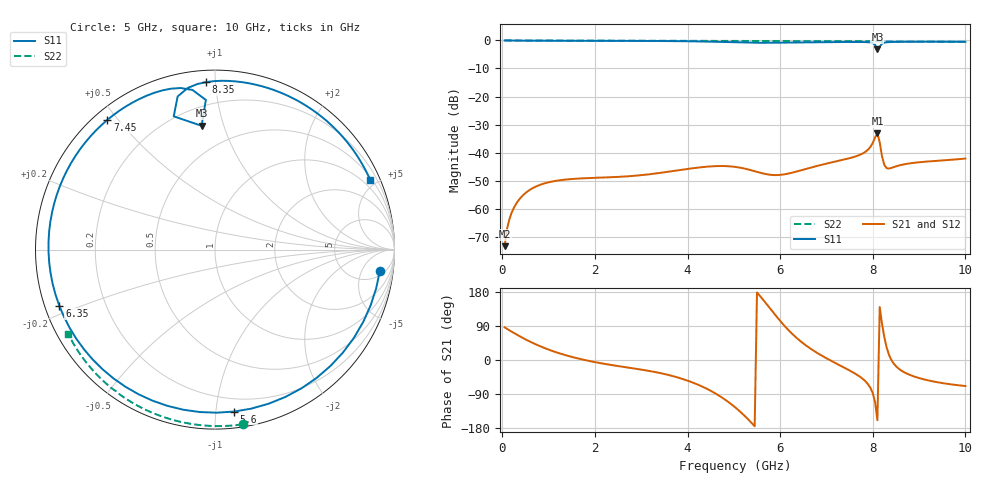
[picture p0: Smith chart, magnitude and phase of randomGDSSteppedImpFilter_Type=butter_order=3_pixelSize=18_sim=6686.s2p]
! freq	dB(S11)	phase(S11)	dB(S12)	phase(S12)
!  dB(S21)	phase(S21)	dB(S22)	phase(S22)
!S-par simulation data
#  GHz  S  DB  R 50
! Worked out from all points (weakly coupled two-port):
!   200 points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, 50 MHz to 10 GHz, reference 50 ohm
!   highest |S21| = -33.07 dB at 8.1 GHz (marker M1); lowest = -73.4 dB at 50 MHz (marker M2)
!   lowest |S11| = -3.2 dB at 8.1 GHz (marker M3), VSWR 5.53, Z = 15.9 + j42.3 ohm
!   |S11| at or under -10 dB: nowhere
!   |S22| runs from -0.5 to 0.0 dB; largest |S21 - S12| = 0
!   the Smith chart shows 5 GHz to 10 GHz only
!   S11 on the Smith chart (normalised r, x): 5 GHz: 7, -11; 5.6 GHz: 0.11, -1.12; 6.35 GHz: 0.04, -0.17; 7.45 GHz: 0.04, +0.47; 8.35 GHz: 0.06, +0.95; 10 GHz: 0.61, +4.63
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0.05  -0.01 -6.7  -73.37 86.1  -73.37 86.1  -0.00 -0.9
0.25  -0.05 -32.8  -59.70 71.4  -59.70 71.4  -0.01 -4.3
0.7  -0.09 -83.6  -52.31 42.6  -52.31 42.6  -0.02 -12.0
1.2  -0.11 -125.2  -49.96 18.9  -49.96 18.9  -0.03 -20.6
1.75  -0.12 -158.8  -49.16 0.8  -49.16 0.8  -0.04 -29.8
2.55  -0.14 162.0  -48.62 -17.0  -48.62 -17.0  -0.06 -43.0
3.4  -0.19 120.9  -47.26 -34.3  -47.26 -34.3  -0.08 -56.6
4.3  -0.37 63.1  -45.21 -69.1  -45.21 -69.1  -0.10 -70.6
4.7  -0.52 26.4  -44.79 -95.6  -44.79 -95.6  -0.11 -76.6
5  -0.67 -7.4  -45.04 -122.0  -45.04 -122.0  -0.12 -81.1
5.05  -0.69 -13.5  -45.15 -127.1  -45.15 -127.1  -0.13 -81.8
5.6  -0.83 -83.3  -47.32 163.8  -47.32 163.8  -0.15 -89.8
6  -0.78 -128.3  -47.95 103.3  -47.95 103.3  -0.17 -95.5
6.35  -0.70 -160.2  -46.77 58.9  -46.77 58.9  -0.19 -100.4
6.7  -0.63 173.8  -45.18 26.4  -45.18 26.4  -0.21 -105.3
7.45  -0.55 129.7  -42.20 -24.3  -42.20 -24.3  -0.25 -115.6
7.95  -0.72 102.0  -37.95 -73.8  -37.95 -73.8  -0.29 -122.4
8.1  -3.18 96.2  -33.07 -158.8  -33.07 -158.8  -0.33 -124.5
8.25  -0.79 99.5  -44.43 60.1  -44.43 60.1  -0.33 -126.4
8.35  -0.59 93.1  -45.68 13.8  -45.68 13.8  -0.33 -127.7
9.05  -0.46 61.4  -43.36 -49.4  -43.36 -49.4  -0.40 -137.1
10  -0.47 24.0  -42.12 -68.7  -42.12 -68.7  -0.51 -150.0
